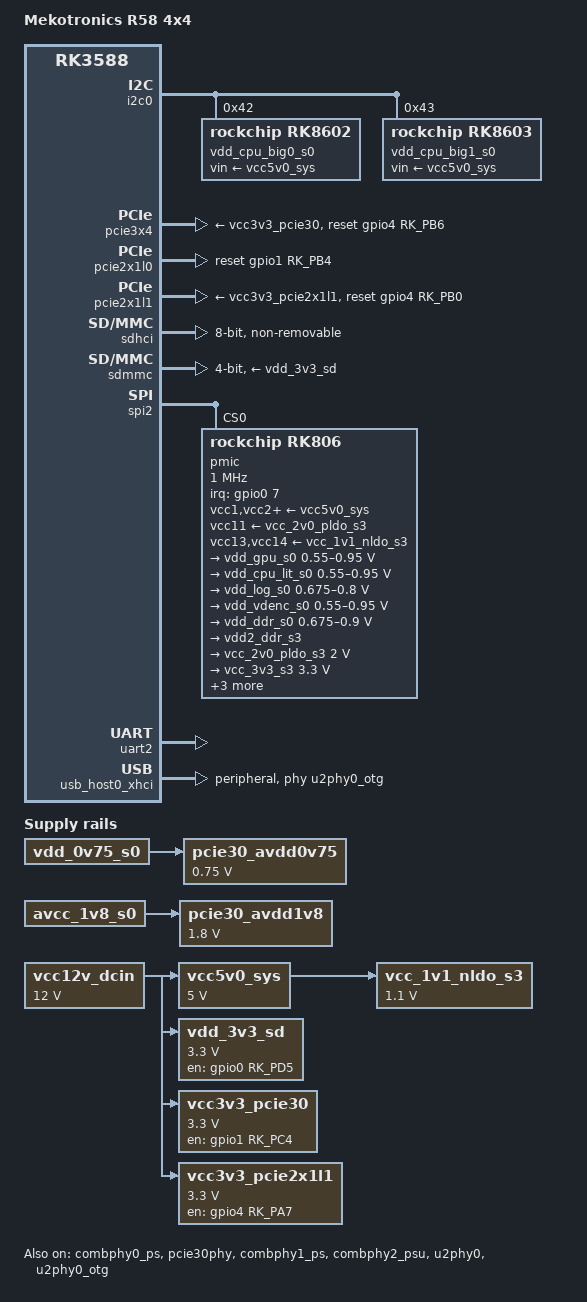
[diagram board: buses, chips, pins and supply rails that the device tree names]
// SPDX-License-Identifier: (GPL-2.0+ OR MIT)

/dts-v1/;

#include <dt-bindings/gpio/gpio.h>
#include <dt-bindings/input/input.h>
#include <dt-bindings/pinctrl/rockchip.h>
#include <dt-bindings/leds/common.h>
#include <dt-bindings/soc/rockchip,vop2.h>
#include <dt-bindings/usb/pd.h>
#include "rk3588.dtsi"

/ {
	model = "Mekotronics R58 4x4";
	compatible = "mekotronics,r58-4x4", "rockchip,rk3588";

	aliases {
		mmc0 = &sdmmc; // SD card
		mmc1 = &sdhci; // eMMC
	};

	chosen {
		stdout-path = "serial2:1500000n8";
	};

	vcc12v_dcin: vcc12v-dcin {
		compatible = "regulator-fixed";
		regulator-name = "vcc12v_dcin";
		regulator-always-on;
		regulator-boot-on;
		regulator-min-microvolt = <12000000>;
		regulator-max-microvolt = <12000000>;
	};

	vcc5v0_sys: vcc5v0-sys {
		compatible = "regulator-fixed";
		regulator-name = "vcc5v0_sys";
		regulator-always-on;
		regulator-boot-on;
		regulator-min-microvolt = <5000000>;
		regulator-max-microvolt = <5000000>;
		vin-supply = <&vcc12v_dcin>;
	};

	vcc_1v1_nldo_s3: vcc-1v1-nldo-s3 {
		compatible = "regulator-fixed";
		regulator-name = "vcc_1v1_nldo_s3";
		regulator-always-on;
		regulator-boot-on;
		regulator-min-microvolt = <1100000>;
		regulator-max-microvolt = <1100000>;
		vin-supply = <&vcc5v0_sys>;
	};

	vdd_3v3_sd: regulator-vdd-3v3-sd {
		compatible = "regulator-fixed";
		regulator-name = "vdd_3v3_sd";
		gpios = <&gpio0 RK_PD5 GPIO_ACTIVE_HIGH>;
		regulator-boot-on;
		enable-active-high;
		regulator-min-microvolt = <3300000>;
		regulator-max-microvolt = <3300000>;
		vin-supply = <&vcc12v_dcin>;
		pinctrl-names = "default";
		pinctrl-0 = <&vdd_sd_en>;
		// vendor: startup-delay-us = <100000>;
	};

	pcie30_avdd0v75: pcie30-avdd0v75 {
		compatible = "regulator-fixed";
		regulator-name = "pcie30_avdd0v75";
		regulator-boot-on;
		regulator-always-on;
		regulator-min-microvolt = <750000>;
		regulator-max-microvolt = <750000>;
		vin-supply = <&vdd_0v75_s0>;
	};

	pcie30_avdd1v8: pcie30-avdd1v8 {
		compatible = "regulator-fixed";
		regulator-name = "pcie30_avdd1v8";
		regulator-boot-on;
		regulator-always-on;
		regulator-min-microvolt = <1800000>;
		regulator-max-microvolt = <1800000>;
		vin-supply = <&avcc_1v8_s0>;
	};

	vcc3v3_pcie30: vcc3v3-pcie30 {
		compatible = "regulator-fixed";
		regulator-name = "vcc3v3_pcie30";
		regulator-min-microvolt = <3300000>;
		regulator-max-microvolt = <3300000>;
		enable-active-high;
		pinctrl-names = "default";
		pinctrl-0 = <&vcc3v3_pcie30_en>;
		gpios = <&gpio1 RK_PC4 GPIO_ACTIVE_HIGH>; //PCIE30x4_PWREN_H
		startup-delay-us = <10000>;
		vin-supply = <&vcc12v_dcin>;
	};

	vcc3v3_pcie2x1l1: vcc3v3-pcie2x1l1{
		compatible = "regulator-fixed";
		regulator-name = "vcc3v3_pcie2x1l1";
		regulator-min-microvolt = <3300000>;
		regulator-max-microvolt = <3300000>;
		enable-active-high;
		gpios = <&gpio4 RK_PA7 GPIO_ACTIVE_HIGH>;
		startup-delay-us = <10000>;
		vin-supply = <&vcc12v_dcin>;
	};
};

&cpu_b0 {
	cpu-supply = <&vdd_cpu_big0_s0>;
	mem-supply = <&vdd_cpu_big0_s0>;
};

&cpu_b1 {
	cpu-supply = <&vdd_cpu_big0_s0>;
	mem-supply = <&vdd_cpu_big0_s0>;
};

&cpu_b2 {
	cpu-supply = <&vdd_cpu_big1_s0>;
	mem-supply = <&vdd_cpu_big1_s0>;
};

&cpu_b3 {
	cpu-supply = <&vdd_cpu_big1_s0>;
	mem-supply = <&vdd_cpu_big1_s0>;
};

&cpu_l0 {
	cpu-supply = <&vdd_cpu_lit_s0>;
	mem-supply = <&vdd_cpu_lit_mem_s0>;
};

&cpu_l1 {
	cpu-supply = <&vdd_cpu_lit_s0>;
	mem-supply = <&vdd_cpu_lit_mem_s0>;
};

&cpu_l2 {
	cpu-supply = <&vdd_cpu_lit_s0>;
	mem-supply = <&vdd_cpu_lit_mem_s0>;
};

&cpu_l3 {
	cpu-supply = <&vdd_cpu_lit_s0>;
	mem-supply = <&vdd_cpu_lit_mem_s0>;
};


&i2c0 {
	pinctrl-names = "default";
	pinctrl-0 = <&i2c0m2_xfer>;
	status = "okay";

	vdd_cpu_big0_s0: regulator@42 {
		compatible = "rockchip,rk8602";
		reg = <0x42>;
		fcs,suspend-voltage-selector = <1>;
		regulator-name = "vdd_cpu_big0_s0";
		regulator-always-on;
		regulator-boot-on;
		regulator-min-microvolt = <550000>;
		regulator-max-microvolt = <1050000>;
		regulator-ramp-delay = <2300>;
		vin-supply = <&vcc5v0_sys>;

		regulator-state-mem {
			regulator-off-in-suspend;
		};
	};

	vdd_cpu_big1_s0: regulator@43 {
		compatible = "rockchip,rk8603", "rockchip,rk8602";
		reg = <0x43>;
		fcs,suspend-voltage-selector = <1>;
		regulator-name = "vdd_cpu_big1_s0";
		regulator-always-on;
		regulator-boot-on;
		regulator-min-microvolt = <550000>;
		regulator-max-microvolt = <1050000>;
		regulator-ramp-delay = <2300>;
		vin-supply = <&vcc5v0_sys>;

		regulator-state-mem {
			regulator-off-in-suspend;
		};
	};
};

&combphy0_ps { // @TODO: not in vendor, unused?
	status = "okay";
};

&pcie30phy {
	status = "okay";
};

//m.2
&pcie3x4 {
	reset-gpios = <&gpio4 RK_PB6 GPIO_ACTIVE_HIGH>;
	vpcie3v3-supply = <&vcc3v3_pcie30>;
	status = "okay";
};

// wifi BCM43752
&pcie2x1l0 {
	reset-gpios = <&gpio1 RK_PB4 GPIO_ACTIVE_HIGH>;
	status = "okay";
};

&combphy1_ps { // for &pcie2x1l0 (wifi)
	status = "okay";
};

/*for RTL8125B(S)_BG(S)_BI*/
&pcie2x1l1 {
	reset-gpios = <&gpio4 RK_PB0 GPIO_ACTIVE_HIGH>;
	vpcie3v3-supply = <&vcc3v3_pcie2x1l1>;
	status = "okay";
};

&combphy2_psu { // for &pcie2x1l1 (rtl8125b)
	status = "okay";
};


&pinctrl {
	vdd_sd {
		vdd_sd_en: vdd-sd-en {
			// khadas: rockchip,pins = <1 RK_PB6 RK_FUNC_GPIO &pcfg_pull_up>;
			rockchip,pins = <2 RK_PC6 RK_FUNC_GPIO &pcfg_pull_none>; // from vendor
		};
	};

	pcie {
		vcc3v3_pcie30_en: vcc3v3-pcie30-en {
			rockchip,pins = <1 RK_PC4 RK_FUNC_GPIO &pcfg_pull_up>;
		};
	};

	RTL8125B {
		RTL8125B_isolate: RTL8125B-isolate {
			rockchip,pins = <3 RK_PB7 RK_FUNC_GPIO &pcfg_pull_up>;
		};
	};
};

&sdhci {
	bus-width = <8>;
	no-sdio;
	no-sd;
	non-removable;
	max-frequency = <200000000>; // vendor
	// hs400 causes immediate trouble, hs200 works at around 150mb/s
	// mmc-hs400-1_8v;
	// mmc-hs400-enhanced-strobe;
	mmc-hs200-1_8v;
	status = "okay";
};

&sdmmc {
	bus-width = <4>;
	cap-sd-highspeed;
	disable-wp;
	no-mmc;
	no-sdio;
	max-frequency = <150000000>; // vendor
	sd-uhs-sdr104;
	vmmc-supply = <&vdd_3v3_sd>;
	vqmmc-supply = <&vccio_sd_s0>;
	status = "okay";
};

&spi2 {
	assigned-clocks = <&cru CLK_SPI2>;
	assigned-clock-rates = <200000000>;
	num-cs = <1>;
	pinctrl-names = "default";
	pinctrl-0 = <&spi2m2_cs0 &spi2m2_pins>;
	status = "okay";

	pmic@0 {
		compatible = "rockchip,rk806";
		reg = <0x0>;
		interrupt-parent = <&gpio0>;
		interrupts = <7 IRQ_TYPE_LEVEL_LOW>;
		pinctrl-names = "default", "pmic-power-off";
		pinctrl-0 = <&pmic_pins>, <&rk806_dvs1_null>,
			    <&rk806_dvs2_null>, <&rk806_dvs3_null>;
		pinctrl-1 = <&rk806_dvs1_slp>, <&rk806_dvs2_null>, <&rk806_dvs3_null>;

		spi-max-frequency = <1000000>;
		system-power-controller;

		vcc1-supply = <&vcc5v0_sys>;
		vcc2-supply = <&vcc5v0_sys>;
		vcc3-supply = <&vcc5v0_sys>;
		vcc4-supply = <&vcc5v0_sys>;
		vcc5-supply = <&vcc5v0_sys>;
		vcc6-supply = <&vcc5v0_sys>;
		vcc7-supply = <&vcc5v0_sys>;
		vcc8-supply = <&vcc5v0_sys>;
		vcc9-supply = <&vcc5v0_sys>;
		vcc10-supply = <&vcc5v0_sys>;
		vcc11-supply = <&vcc_2v0_pldo_s3>;
		vcc12-supply = <&vcc5v0_sys>;
		vcc13-supply = <&vcc_1v1_nldo_s3>;
		vcc14-supply = <&vcc_1v1_nldo_s3>;
		vcca-supply = <&vcc5v0_sys>;

		gpio-controller;
		#gpio-cells = <2>;

		rk806_dvs1_null: dvs1-null-pins {
			pins = "gpio_pwrctrl1";
			function = "pin_fun0";
		};

		rk806_dvs1_slp: dvs1-slp-pins {
			pins = "gpio_pwrctrl1";
			function = "pin_fun1";
		};

		rk806_dvs2_null: dvs2-null-pins {
			pins = "gpio_pwrctrl2";
			function = "pin_fun0";
		};

		rk806_dvs3_null: dvs3-null-pins {
			pins = "gpio_pwrctrl3";
			function = "pin_fun0";
		};

		regulators {
			vdd_gpu_s0: vdd_gpu_mem_s0: dcdc-reg1 {
				regulator-boot-on;
				regulator-enable-ramp-delay = <400>;
				regulator-min-microvolt = <550000>;
				regulator-max-microvolt = <950000>;
				regulator-name = "vdd_gpu_s0";
				regulator-ramp-delay = <12500>;

				regulator-state-mem {
					regulator-off-in-suspend;
				};
			};

			vdd_cpu_lit_s0: vdd_cpu_lit_mem_s0: dcdc-reg2 {
				regulator-always-on;
				regulator-boot-on;
				regulator-min-microvolt = <550000>;
				regulator-max-microvolt = <950000>;
				regulator-name = "vdd_cpu_lit_s0";
				regulator-ramp-delay = <12500>;

				regulator-state-mem {
					regulator-off-in-suspend;
				};
			};

			vdd_log_s0: dcdc-reg3 {
				regulator-always-on;
				regulator-boot-on;
				regulator-min-microvolt = <675000>;
				regulator-max-microvolt = <800000>;
				regulator-name = "vdd_log_s0";
				regulator-ramp-delay = <12500>;

				regulator-state-mem {
					regulator-off-in-suspend;
					regulator-suspend-microvolt = <750000>;
				};
			};

			vdd_vdenc_s0: vdd_vdenc_mem_s0: dcdc-reg4 {
				regulator-always-on;
				regulator-boot-on;
				regulator-min-microvolt = <550000>;
				regulator-max-microvolt = <950000>;
				regulator-name = "vdd_vdenc_s0";
				regulator-ramp-delay = <12500>;

				regulator-state-mem {
					regulator-off-in-suspend;
				};
			};

			vdd_ddr_s0: dcdc-reg5 {
				regulator-always-on;
				regulator-boot-on;
				regulator-min-microvolt = <675000>;
				regulator-max-microvolt = <900000>;
				regulator-name = "vdd_ddr_s0";
				regulator-ramp-delay = <12500>;

				regulator-state-mem {
					regulator-off-in-suspend;
					regulator-suspend-microvolt = <850000>;
				};
			};

			vdd2_ddr_s3: dcdc-reg6 {
				regulator-always-on;
				regulator-boot-on;
				regulator-name = "vdd2_ddr_s3";

				regulator-state-mem {
					regulator-on-in-suspend;
				};
			};

			vcc_2v0_pldo_s3: dcdc-reg7 {
				regulator-always-on;
				regulator-boot-on;
				regulator-min-microvolt = <2000000>;
				regulator-max-microvolt = <2000000>;
				regulator-name = "vdd_2v0_pldo_s3";
				regulator-ramp-delay = <12500>;

				regulator-state-mem {
					regulator-on-in-suspend;
					regulator-suspend-microvolt = <2000000>;
				};
			};

			vcc_3v3_s3: dcdc-reg8 {
				regulator-always-on;
				regulator-boot-on;
				regulator-min-microvolt = <3300000>;
				regulator-max-microvolt = <3300000>;
				regulator-name = "vcc_3v3_s3";

				regulator-state-mem {
					regulator-on-in-suspend;
					regulator-suspend-microvolt = <3300000>;
				};
			};

			vddq_ddr_s0: dcdc-reg9 {
				regulator-always-on;
				regulator-boot-on;
				regulator-name = "vddq_ddr_s0";

				regulator-state-mem {
					regulator-off-in-suspend;
				};
			};

			vcc_1v8_s3: dcdc-reg10 {
				regulator-always-on;
				regulator-boot-on;
				regulator-min-microvolt = <1800000>;
				regulator-max-microvolt = <1800000>;
				regulator-name = "vcc_1v8_s3";

				regulator-state-mem {
					regulator-on-in-suspend;
					regulator-suspend-microvolt = <1800000>;
				};
			};

			avcc_1v8_s0: pldo-reg1 {
				regulator-always-on;
				regulator-boot-on;
				regulator-min-microvolt = <1800000>;
				regulator-max-microvolt = <1800000>;
				regulator-name = "avcc_1v8_s0";

				regulator-state-mem {
					regulator-off-in-suspend;
					// @TODO: vendor: regulator-suspend-microvolt = <1800000>;
				};
			};

			vcc_1v8_s0: pldo-reg2 {
				regulator-always-on;
				regulator-boot-on;
				regulator-min-microvolt = <1800000>;
				regulator-max-microvolt = <1800000>;
				regulator-name = "vcc_1v8_s0";

				regulator-state-mem {
					regulator-off-in-suspend;
					regulator-suspend-microvolt = <1800000>;
				};
			};

			avdd_1v2_s0: pldo-reg3 {
				regulator-always-on;
				regulator-boot-on;
				regulator-min-microvolt = <1200000>;
				regulator-max-microvolt = <1200000>;
				regulator-name = "avdd_1v2_s0";

				regulator-state-mem {
					regulator-off-in-suspend;
				};
			};

			vcc_3v3_s0: pldo-reg4 {
				regulator-always-on;
				regulator-boot-on;
				regulator-min-microvolt = <3300000>;
				regulator-max-microvolt = <3300000>;
				regulator-ramp-delay = <12500>;
				regulator-name = "vcc_3v3_s0";

				regulator-state-mem {
					regulator-off-in-suspend;
				};
			};

			vccio_sd_s0: pldo-reg5 {
				regulator-always-on;
				regulator-boot-on;
				regulator-min-microvolt = <1800000>;
				regulator-max-microvolt = <3300000>;
				regulator-ramp-delay = <12500>;
				regulator-name = "vccio_sd_s0";

				regulator-state-mem {
					regulator-off-in-suspend;
				};
			};

			pldo6_s3: pldo-reg6 {
				regulator-always-on;
				regulator-boot-on;
				regulator-min-microvolt = <1800000>;
				regulator-max-microvolt = <1800000>;
				regulator-name = "pldo6_s3";

				regulator-state-mem {
					regulator-on-in-suspend;
					regulator-suspend-microvolt = <1800000>;
				};
			};

			vdd_0v75_s3: nldo-reg1 {
				regulator-always-on;
				regulator-boot-on;
				regulator-min-microvolt = <750000>;
				regulator-max-microvolt = <750000>;
				regulator-name = "vdd_0v75_s3";

				regulator-state-mem {
					regulator-on-in-suspend;
					regulator-suspend-microvolt = <750000>;
				};
			};

			vdd_ddr_pll_s0: nldo-reg2 {
				regulator-always-on;
				regulator-boot-on;
				regulator-min-microvolt = <850000>;
				regulator-max-microvolt = <850000>;
				regulator-name = "vdd_ddr_pll_s0";

				regulator-state-mem {
					regulator-off-in-suspend;
					regulator-suspend-microvolt = <850000>;
				};
			};

			avdd_0v75_s0: nldo-reg3 {
				regulator-always-on;
				regulator-boot-on;
				regulator-min-microvolt = <750000>;
				regulator-max-microvolt = <750000>;
				regulator-name = "avdd_0v75_s0";

				regulator-state-mem {
					regulator-off-in-suspend;
				};
			};

			vdd_0v85_s0: nldo-reg4 {
				regulator-always-on;
				regulator-boot-on;
				regulator-min-microvolt = <850000>;
				regulator-max-microvolt = <850000>;
				regulator-name = "vdd_0v85_s0";

				regulator-state-mem {
					regulator-off-in-suspend;
				};
			};

			vdd_0v75_s0: nldo-reg5 {
				regulator-always-on;
				regulator-boot-on;
				regulator-min-microvolt = <750000>;
				regulator-max-microvolt = <750000>;
				regulator-name = "vdd_0v75_s0";

				regulator-state-mem {
					regulator-off-in-suspend;
				};
			};
		};
	};
};

&uart2 {
	pinctrl-0 = <&uart2m0_xfer>;
	status = "okay";
};


&u2phy0 {
	status = "okay";
};

&u2phy0_otg { // for fc000000.usb UDC
	status = "okay";
};

&usb_host0_xhci { // usb@fc000000
	dr_mode = "peripheral";
	maximum-speed = "high-speed";
	phys = <&u2phy0_otg>;
	phy-names = "usb2-phy";
	status = "okay";
};

